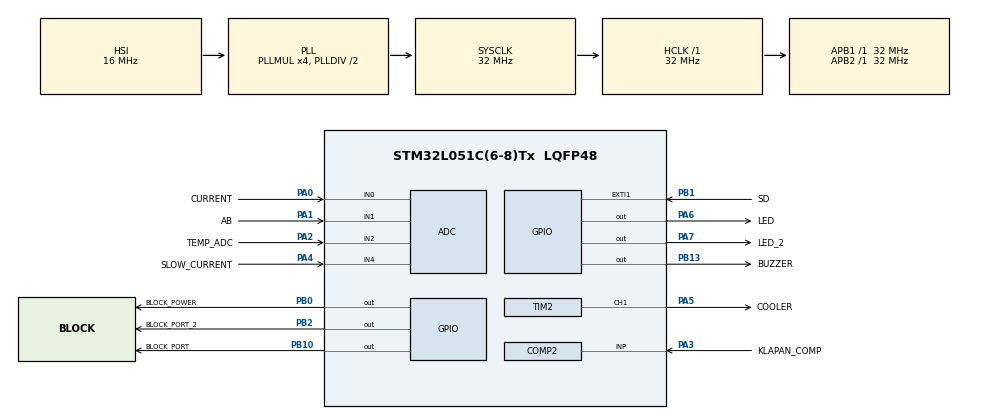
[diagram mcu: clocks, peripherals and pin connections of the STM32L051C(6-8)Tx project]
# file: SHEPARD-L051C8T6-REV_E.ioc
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ADC.ContinuousConvMode=ENABLE
ADC.DMAContinuousRequests=ENABLE
ADC.EOCSelection=ADC_EOC_SEQ_CONV
ADC.SamplingTime=ADC_SAMPLETIME_160CYCLES_5
COMP2.InvertingInput=COMP_INPUT_MINUS_VREFINT
COMP2.TriggerMode=COMP_TRIGGERMODE_IT_RISING_FALLING
Dma.ADC.0.Direction=DMA_PERIPH_TO_MEMORY
Dma.ADC.0.Instance=DMA1_Channel1
Dma.ADC.0.MemDataAlignment=DMA_MDATAALIGN_HALFWORD
Dma.ADC.0.MemInc=DMA_MINC_ENABLE
Dma.ADC.0.Mode=DMA_CIRCULAR
Dma.ADC.0.PeriphDataAlignment=DMA_PDATAALIGN_HALFWORD
Dma.ADC.0.PeriphInc=DMA_PINC_DISABLE
Dma.ADC.0.Priority=DMA_PRIORITY_HIGH
Dma.Request0=ADC
FREERTOS.Tasks01=Loop_Task,0,128,StartLoop_Task,Default,NULL,Dynamic,NULL,NULL;LED_Task,0,128,StartLED_Task,Default,NULL,Dynamic,NULL,NULL;Buzzer_Task,0,128,StartBuzzer_Task,Default,NULL,Dynamic,NULL,NULL;Cooler_Task,0,128,StartCooler_Task,Default,NULL,Dynamic,NULL,NULL;AB_Task,0,128,StartAB_Task,Default,NULL,Dynamic,NULL,NULL;TEMP_Task,0,128,StartTEMP_Task,Default,NULL,Dynamic,NULL,NULL;CUR_Task,0,128,StartCUR_Task,Default,NULL,Dynamic,NULL,NULL
FREERTOS.configTOTAL_HEAP_SIZE=4500
FREERTOS.configUSE_NEWLIB_REENTRANT=1
IWDG.Prescaler=IWDG_PRESCALER_256
Mcu.Family=STM32L0
Mcu.Name=STM32L051C(6-8)Tx
Mcu.Package=LQFP48
NVIC.ADC1_COMP_IRQn=true\:3\:0\:false\:false\:true\:true\:true\:true
NVIC.DMA1_Channel1_IRQn=true\:1\:0\:true\:false\:true\:false\:false\:true
NVIC.EXTI0_1_IRQn=true\:3\:0\:false\:false\:true\:true\:true\:true
NVIC.PVD_IRQn=true\:3\:0\:true\:false\:true\:true\:true\:true
PA0.GPIO_Label=CURRENT
PA0.Mode=IN0
PA0.Signal=ADC_IN0
PA1.GPIO_Label=AB
PA1.Mode=IN1
PA1.Signal=ADC_IN1
PA13.GPIO_Label=DIO
PA13.Mode=Serial_Wire
PA13.Signal=SYS_SWDIO
PA14.GPIO_Label=CLK
PA14.Mode=Serial_Wire
PA14.Signal=SYS_SWCLK
PA2.GPIO_Label=TEMP_ADC
PA2.Mode=IN2
PA2.Signal=ADC_IN2
PA3.GPIO_Label=KLAPAN_COMP
PA3.Mode=INP
PA3.Signal=COMP2_INP
PA4.GPIO_Label=SLOW_CURRENT
PA4.Mode=IN4
PA4.Signal=ADC_IN4
PA5.GPIO_Label=COOLER
PA5.GPIO_Speed=GPIO_SPEED_FREQ_VERY_HIGH
PA5.Signal=S_TIM2_CH1
PA6.GPIO_Label=LED
PA6.GPIO_Speed=GPIO_SPEED_FREQ_VERY_HIGH
PA6.PinState=GPIO_PIN_SET
PA6.Signal=GPIO_Output
PA7.GPIO_Label=LED_2
PA7.GPIO_Speed=GPIO_SPEED_FREQ_VERY_HIGH
PA7.PinState=GPIO_PIN_SET
PA7.Signal=GPIO_Output
PB0.GPIO_Label=BLOCK_POWER
PB0.GPIO_Speed=GPIO_SPEED_FREQ_VERY_HIGH
PB0.PinState=GPIO_PIN_RESET
PB0.Signal=GPIO_Output
PB1.GPIO_Label=SD
PB1.Signal=GPXTI1
PB10.GPIO_Label=BLOCK_PORT
PB10.GPIO_Speed=GPIO_SPEED_FREQ_VERY_HIGH
PB10.PinState=GPIO_PIN_SET
PB10.Signal=GPIO_Output
PB13.GPIO_Label=BUZZER
PB13.GPIO_Speed=GPIO_SPEED_FREQ_VERY_HIGH
PB13.Signal=GPIO_Output
PB2.GPIO_Label=BLOCK_PORT_2
PB2.GPIO_Speed=GPIO_SPEED_FREQ_VERY_HIGH
PB2.PinState=GPIO_PIN_SET
PB2.Signal=GPIO_Output
ProjectManager.HeapSize=0x200
ProjectManager.StackSize=0x400
ProjectManager.TargetToolchain=STM32CubeIDE
RCC.AHBFreq_Value=32000000
RCC.APB1Freq_Value=32000000
RCC.APB1TimFreq_Value=32000000
RCC.APB2Freq_Value=32000000
RCC.APB2TimFreq_Value=32000000
RCC.HCLKFreq_Value=32000000
RCC.HSE_VALUE=8000000
RCC.HSI16_VALUE=16000000
RCC.HSI_VALUE=16000000
RCC.LSE_VALUE=32768
RCC.MSI_VALUE=2097000
RCC.PLLMUL=RCC_PLLMUL_4
RCC.SYSCLKFreq_VALUE=32000000
RCC.SYSCLKSource=RCC_SYSCLKSOURCE_PLLCLK
RCC.VCOOutputFreq_Value=64000000
SH.S_TIM2_CH1.0=TIM2_CH1,PWM Generation1 CH1
SYS.Mode=PWR_PVD_MODE_IT_RISING_FALLING
SYS.PVDLevel=PWR_PVDLEVEL_2
TIM2.AutoReloadPreload=TIM_AUTORELOAD_PRELOAD_ENABLE
TIM2.Channel-PWM\ Generation1\ CH1=TIM_CHANNEL_1
TIM2.OCFastMode_PWM-PWM\ Generation1\ CH1=TIM_OCFAST_ENABLE
TIM2.OCPolarity_1=TIM_OCPOLARITY_LOW
TIM2.Period=31999
VP_COMP2_VS_VREFINT.Mode=VREFINT
VP_FREERTOS_VS_CMSIS_V1.Mode=CMSIS_V1
VP_IWDG_VS_IWDG.Mode=IWDG_Activate
VP_SYS_V_PVD_IN.Mode=Mode_PVD_Int
VP_TIM21_VS_ClockSourceINT.Mode=Internal
VP_TIM22_VS_ClockSourceINT.Mode=Internal
VP_TIM2_VS_ClockSourceINT.Mode=Internal
board=custom

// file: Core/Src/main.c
/* USER CODE BEGIN Header */
/**
  ******************************************************************************
  * @file           : main.c
  * @brief          : Main program body
  ******************************************************************************
  * @attention
  *
  * <h2><center>&copy; Copyright (c) 2020 STMicroelectronics.
  * All rights reserved.</center></h2>
  *
  * This software component is licensed by ST under BSD 3-Clause license,
  * the "License"; You may not use this file except in compliance with the
  * License. You may obtain a copy of the License at:
  *                        opensource.org/licenses/BSD-3-Clause
  *
  ******************************************************************************
  */
/* USER CODE END Header */

#include "main.h"
#include "cmsis_os.h"
#include "adc.h"
#include "comp.h"
#include "dma.h"
#include "iwdg.h"
#include "tim.h"
#include "gpio.h"

/* USER CODE BEGIN Includes */
#include "math.h"
/* USER CODE END Includes */

/* USER CODE BEGIN PD */
#define DEBUG_IWDG
/* USER CODE END PD */

/* USER CODE BEGIN PV */
volatile uint8_t INV_STATE=0; // 0-off

volatile uint8_t Blocked_by_AB=1;
volatile uint8_t Blocked_by_Perek=0;
volatile uint8_t Blocked_by_TEMP=1;
volatile uint8_t Blocked_by_PVD=1;

volatile uint8_t Blocked_by_Klapan=0;
volatile uint8_t Blocked_by_Klapan_CNT=0;
volatile uint8_t Blocked_by_150=0;

volatile uint8_t KLAPAN_SIGN=0;

volatile uint16_t aADCxConvertedData[ADC_CONVERTED_DATA_BUFFER_SIZE];
volatile uint16_t Global_AB=0;
volatile uint16_t Global_TEMP=0;
volatile uint16_t Global_SLOWCURR=0;
volatile uint16_t Global_CURR=0;

// ADC Stamp
volatile uint32_t adc_base_stamp=0;
volatile uint32_t adc_avg_stamp=0;

// AB AVERAGE ADC
volatile uint32_t Global_AB_BASE=0;
volatile uint32_t Global_AB_BASE_CNT=0;
volatile uint64_t Global_AB_BASE_SUMMATOR=0;

volatile uint32_t Global_TEMP_AVG=0;
volatile uint32_t Global_TEMP_AVG_CNT=0;
volatile uint64_t Global_TEMP_AVG_SUMMATOR=0;

volatile uint32_t Global_SLOWCUR_AVG=0;
volatile uint32_t Global_SLOWCUR_AVG_CNT=0;
volatile uint64_t Global_SLOWCUR_AVG_SUMMATOR=0;

volatile uint32_t Global_CUR_AVG=0;
volatile uint32_t Global_CUR_AVG_CNT=0;
volatile uint64_t Global_CUR_AVG_SUMMATOR=0;

volatile uint32_t Global_CUR_BASE=0;
volatile uint32_t Global_CUR_BASE_CNT=0;
volatile uint64_t Global_CUR_BASE_SUMMATOR=0;

volatile uint8_t Ready_AVG_CUR=0;
volatile uint8_t Ready_AVG_BASE=0;
volatile uint8_t Ready_AVG_TEMP=0;

volatile uint16_t Power_Percent=0;
volatile uint16_t Power_Percent_Base=0;

volatile float TEMP_C=TEMP_MAX;
/* USER CODE END PV */

void SystemClock_Config(void);
void MX_FREERTOS_Init(void);
void Enable_SH_DEBUG(void);

/* USER CODE BEGIN 0 */
void Calc_Temp(void) {
	if (Ready_AVG_TEMP==1) {
		Ready_AVG_TEMP=0;

	    // convert the value to resistance
		double average=Global_TEMP_AVG;
	    average = 4095/average-1;
	    average = SERIESRESISTOR * average;

	    TEMP_C = average / THERMISTORNOMINAL;     // (R/Ro)
	    TEMP_C = log(TEMP_C);                  // ln(R/Ro)
	    TEMP_C /= BCOEFFICIENT;                   // 1/B * ln(R/Ro)
	    TEMP_C += 1.0 / (TEMPERATURENOMINAL + 273.15); // + (1/To)
	    TEMP_C = 1.0 / TEMP_C;                 // Invert
	    TEMP_C -= 273.15;                         // convert to C
	    TEMP_C=TEMP_C+TEMP_BASE;
	}
}

void HAL_GPIO_EXTI_Callback(uint16_t GPIO_Pin)
{
	 // if(GPIO_Pin== SD_Pin) {
		  __HAL_GPIO_EXTI_CLEAR_IT(SD_Pin);
		  //
		if ((HAL_GPIO_ReadPin(SD_GPIO_Port,SD_Pin)==GPIO_PIN_RESET)) {
			Blocked_by_Perek=1;
		} else {
			Blocked_by_Perek=0;
		}
	 // }
}

void HAL_PWR_PVDCallback(void)
{
	if __HAL_PWR_GET_FLAG(PWR_FLAG_PVDO) {
		Blocked_by_PVD=1;
	} else {
		Blocked_by_PVD=0;
	}
}

void HAL_ADC_ConvCpltCallback(ADC_HandleTypeDef* hadc1)
{
	Global_CURR=aADCxConvertedData[0];
	Global_AB=aADCxConvertedData[1];
	Global_TEMP=aADCxConvertedData[2];
	Global_SLOWCURR=aADCxConvertedData[3];

	if (Global_CURR>=ADC_KLAPAN_1_8_x) {
		Blocked_by_150=1;
	}

	Global_CUR_BASE_SUMMATOR=Global_CURR+Global_CUR_BASE_SUMMATOR;
	Global_CUR_BASE_CNT++;
	Global_CUR_AVG_SUMMATOR=Global_CUR_AVG_SUMMATOR+Global_CURR;
	Global_CUR_AVG_CNT++;

	Global_AB_BASE_CNT++;
	Global_AB_BASE_SUMMATOR=Global_AB+Global_AB_BASE_SUMMATOR;

	Global_TEMP_AVG_CNT++;
	Global_TEMP_AVG_SUMMATOR=Global_TEMP_AVG_SUMMATOR+Global_TEMP;

	Global_SLOWCUR_AVG_CNT++;
	Global_SLOWCUR_AVG_SUMMATOR=Global_SLOWCUR_AVG_SUMMATOR+Global_SLOWCURR;

	if (xTaskGetTickCount()-adc_base_stamp>=ADC_LENGTH_SAMPLING_BASE) {
		if (Global_AB_BASE_CNT==0) {
			Global_AB_BASE_CNT=1;
		}

		if (Global_CUR_BASE_CNT==0) {
			Global_CUR_BASE_CNT=1;
		}

		Global_CUR_BASE=(uint32_t) (Global_CUR_BASE_SUMMATOR/Global_CUR_BASE_CNT);
		Global_CUR_BASE_CNT=0;
		Global_CUR_BASE_SUMMATOR=0;

		Global_AB_BASE=(uint32_t) (Global_AB_BASE_SUMMATOR/Global_AB_BASE_CNT);
		Global_AB_BASE_CNT=0;
		Global_AB_BASE_SUMMATOR=0;

		if (Global_SLOWCUR_AVG!=0) {
			Power_Percent_Base=(100*Global_CUR_BASE)/Global_SLOWCUR_AVG;
		} else {
			Power_Percent_Base=1;
		}

		Ready_AVG_BASE=1;

		adc_base_stamp=xTaskGetTickCount();
	}

	if (xTaskGetTickCount()-adc_avg_stamp>=ADC_LENGTH_SAMPLING_AVG) {
			if (Global_TEMP_AVG_CNT==0) {
				Global_TEMP_AVG_CNT=1;
			}

			if (Global_CUR_AVG_CNT==0) {
				Global_CUR_AVG_CNT=1;
			}

			if (Global_SLOWCUR_AVG_CNT==0) {
				Global_SLOWCUR_AVG_CNT=1;
			}

			Global_CUR_AVG=(uint32_t) (Global_CUR_AVG_SUMMATOR/Global_CUR_AVG_CNT);
			Global_CUR_AVG_CNT=0;
			Global_CUR_AVG_SUMMATOR=0;

			Global_TEMP_AVG=(uint32_t) (Global_TEMP_AVG_SUMMATOR/Global_TEMP_AVG_CNT);
			Global_TEMP_AVG_CNT=0;
			Global_TEMP_AVG_SUMMATOR=0;

			Global_SLOWCUR_AVG=(uint32_t) (Global_SLOWCUR_AVG_SUMMATOR/Global_SLOWCUR_AVG_CNT);
			Global_SLOWCUR_AVG_CNT=0;
			Global_SLOWCUR_AVG_SUMMATOR=0;

			adc_avg_stamp=xTaskGetTickCount();

			Ready_AVG_CUR=1;
			Ready_AVG_TEMP=1;

			if (Global_CUR_AVG!=0) {
				Power_Percent=(100*Global_CUR_AVG)/Global_SLOWCUR_AVG;
			} else {
				Power_Percent=1;
			}
		}
}

/*void HAL_ADC_ConvHalfCpltCallback(ADC_HandleTypeDef* hadc1)
{
	Global_CURR=aADCxConvertedData[0];
	Global_AB=aADCxConvertedData[1];
}*/

uint8_t CheckStamp(uint32_t time_stamp, uint32_t time_base) {
	if (xTaskGetTickCount()-time_stamp>time_base*1000) {
		return 1;
	} else {
		return 0;
	}
}

void LED_Blink(GPIO_TypeDef* sh_port, uint16_t sh_pin,uint16_t sh_delay) {
	HAL_GPIO_WritePin(sh_port, sh_pin, GPIO_PIN_SET); // STAT
	osDelay(sh_delay);
	HAL_GPIO_WritePin(sh_port, sh_pin, GPIO_PIN_RESET); // STAT
}

void LED_Blink_X(GPIO_TypeDef* sh_port, uint16_t sh_pin,uint8_t sh_cnt,uint16_t sh_delay) {
	for (uint16_t i=0;i<sh_cnt;i++) {
		LED_Blink(sh_port,sh_pin,sh_delay);
		osDelay(100);
	}
}

void __attribute__((optimize("O0"))) ShutDown_with_Power_On(void) {
	/*HAL_GPIO_WritePin(GPIOA, BLOCK_PORT_1_Pin, GPIO_PIN_RESET); // SET BLOCK 8V FLAG and block all PWMs
	HAL_GPIO_WritePin(GPIOA, BLOCK_PORT_2_Pin, GPIO_PIN_SET);
	HAL_GPIO_WritePin(BLOCK_POWER_GPIO_Port, BLOCK_POWER_Pin, GPIO_PIN_SET);   // POWER ON
	*/

	GPIOB->BRR  = GPIO_BRR_BR_10;
	GPIOB->BSRR  = GPIO_BSRR_BS_2;
	GPIOB->BSRR  = GPIO_BSRR_BS_0;
}

void __attribute__((optimize("O0"))) Enable_INV(void) {

	GPIOB->BRR  = GPIO_BRR_BR_10;
	GPIOB->BSRR  = GPIO_BSRR_BS_2;
	GPIOB->BSRR  = GPIO_BSRR_BS_0;
	GPIOB->BSRR  = GPIO_BSRR_BS_10;
	GPIOB->BRR  = GPIO_BRR_BR_2;

	/*HAL_GPIO_WritePin(GPIOA, BLOCK_PORT_1_Pin, GPIO_PIN_RESET); // SET BLOCK 8V FLAG and block all PWMs
	HAL_GPIO_WritePin(GPIOA, BLOCK_PORT_2_Pin, GPIO_PIN_SET);
	HAL_GPIO_WritePin(BLOCK_POWER_GPIO_Port, BLOCK_POWER_Pin, GPIO_PIN_SET); // POWER ON
	HAL_GPIO_WritePin(GPIOA, BLOCK_PORT_1_Pin, GPIO_PIN_SET); //  UNBLOCK 8V FLAG and UNBLOCK all PWMs
	HAL_GPIO_WritePin(GPIOA, BLOCK_PORT_2_Pin, GPIO_PIN_RESET);*/
}

void __attribute__((optimize("O0"))) ShutDown_with_Power_Off(void) {
	GPIOB->BRR  = GPIO_BRR_BR_10; // Set 8V Block
	GPIOB->BSRR  = GPIO_BSRR_BS_2; // Block PWM
	GPIOB->BRR  = GPIO_BRR_BR_0; // BLOCK POWER

	/*HAL_GPIO_WritePin(GPIOA, BLOCK_PORT_1_Pin, GPIO_PIN_RESET); // SET BLOCK 8V FLAG and block all PWMs
	HAL_GPIO_WritePin(GPIOA, BLOCK_PORT_2_Pin, GPIO_PIN_SET);
	HAL_GPIO_WritePin(BLOCK_POWER_GPIO_Port, BLOCK_POWER_Pin, GPIO_PIN_RESET);   // POWER OFF
	*/
}

void IWDG_Reset(void) {
	HAL_IWDG_Refresh(&hiwdg);
}

void Enable_SH_DEBUG(void) {
			__HAL_RCC_DBGMCU_CLK_ENABLE();
		    DBGMCU->APB1FZ |= DBGMCU_APB1_FZ_DBG_WWDG_STOP;
		    DBGMCU->APB2FZ = 0xFFFFFFFF;
		    DBGMCU->APB1FZ = 0xFFFFFFFF;
		    DBGMCU->CR |=DBGMCU_CR_DBG_STOP;
		    __HAL_DBGMCU_FREEZE_IWDG();
}
/* USER CODE END 0 */

int main(void)
{
	  /* USER CODE BEGIN 1 */

		// Enable_SH_DEBUG
		#ifdef DEBUG_IWDG
			Enable_SH_DEBUG();
		#endif
	  /* USER CODE END 1 */

  /* MCU Configuration--------------------------------------------------------*/

  /* Reset of all peripherals, Initializes the Flash interface and the Systick. */
  HAL_Init();

  /* Configure the system clock */
  SystemClock_Config();

  /* Initialize all configured peripherals */
  MX_GPIO_Init();
  MX_DMA_Init();
  MX_ADC_Init();
  MX_COMP2_Init();
  MX_IWDG_Init();
  MX_TIM2_Init();
  MX_TIM21_Init();
  MX_TIM22_Init();
  /* USER CODE BEGIN 2 */
  IWDG_Reset();
  /* USER CODE END 2 */

  /* Call init function for freertos objects (in freertos.c) */
  MX_FREERTOS_Init();
  /* Start scheduler */
  osKernelStart();

  /* We should never get here as control is now taken by the scheduler */
  /* Infinite loop */
  while (1)
  {

  }
}

void SystemClock_Config(void)
{
  RCC_OscInitTypeDef RCC_OscInitStruct = {0};
  RCC_ClkInitTypeDef RCC_ClkInitStruct = {0};

  /** Configure the main internal regulator output voltage
  */
  __HAL_PWR_VOLTAGESCALING_CONFIG(PWR_REGULATOR_VOLTAGE_SCALE1);
  /** Initializes the CPU, AHB and APB busses clocks
  */
  RCC_OscInitStruct.OscillatorType = RCC_OSCILLATORTYPE_HSI|RCC_OSCILLATORTYPE_LSI;
  RCC_OscInitStruct.HSIState = RCC_HSI_ON;
  RCC_OscInitStruct.HSICalibrationValue = RCC_HSICALIBRATION_DEFAULT;
  RCC_OscInitStruct.LSIState = RCC_LSI_ON;
  RCC_OscInitStruct.PLL.PLLState = RCC_PLL_ON;
  RCC_OscInitStruct.PLL.PLLSource = RCC_PLLSOURCE_HSI;
  RCC_OscInitStruct.PLL.PLLMUL = RCC_PLLMUL_4;
  RCC_OscInitStruct.PLL.PLLDIV = RCC_PLLDIV_2;
  if (HAL_RCC_OscConfig(&RCC_OscInitStruct) != HAL_OK)
  {
    Error_Handler();
  }
  /** Initializes the CPU, AHB and APB busses clocks
  */
  RCC_ClkInitStruct.ClockType = RCC_CLOCKTYPE_HCLK|RCC_CLOCKTYPE_SYSCLK
                              |RCC_CLOCKTYPE_PCLK1|RCC_CLOCKTYPE_PCLK2;
  RCC_ClkInitStruct.SYSCLKSource = RCC_SYSCLKSOURCE_PLLCLK;
  RCC_ClkInitStruct.AHBCLKDivider = RCC_SYSCLK_DIV1;
  RCC_ClkInitStruct.APB1CLKDivider = RCC_HCLK_DIV1;
  RCC_ClkInitStruct.APB2CLKDivider = RCC_HCLK_DIV1;

  if (HAL_RCC_ClockConfig(&RCC_ClkInitStruct, FLASH_LATENCY_1) != HAL_OK)
  {
    Error_Handler();
  }
}

void Error_Handler(void)
{
}

/************************ (C) COPYRIGHT STMicroelectronics *****END OF FILE****/

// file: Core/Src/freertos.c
/* USER CODE BEGIN Header */
/**
  ******************************************************************************
  * File Name          : freertos.c
  * Description        : Code for freertos applications
  ******************************************************************************
  * @attention
  *
  * <h2><center>&copy; Copyright (c) 2020 STMicroelectronics.
  * All rights reserved. </center></h2>
  *
  * This software component is licensed by ST under Ultimate Liberty license
  * SLA0044, the "License"; You may not use this file except in compliance with
  * the License. You may obtain a copy of the License at:
  *                             www.st.com/SLA0044
  *
  ******************************************************************************
  */
/* USER CODE END Header */

#include "FreeRTOS.h"
#include "task.h"
#include "main.h"
#include "cmsis_os.h"

/* USER CODE BEGIN Includes */
#include "adc.h"
#include "comp.h"
#include "tim.h"
#include "math.h"
/* USER CODE END Includes */

osThreadId Loop_TaskHandle;
osThreadId LED_TaskHandle;
osThreadId Buzzer_TaskHandle;
osThreadId Cooler_TaskHandle;
osThreadId AB_TaskHandle;
osThreadId TEMP_TaskHandle;
osThreadId CUR_TaskHandle;

void StartLoop_Task(void const * argument);
void StartLED_Task(void const * argument);
void StartBuzzer_Task(void const * argument);
void StartCooler_Task(void const * argument);
void StartAB_Task(void const * argument);
void StartTEMP_Task(void const * argument);
void StartCUR_Task(void const * argument);

void MX_FREERTOS_Init(void); /* (MISRA C 2004 rule 8.1) */

/* GetIdleTaskMemory prototype (linked to static allocation support) */
void vApplicationGetIdleTaskMemory( StaticTask_t **ppxIdleTaskTCBBuffer, StackType_t **ppxIdleTaskStackBuffer, uint32_t *pulIdleTaskStackSize );

/* USER CODE BEGIN GET_IDLE_TASK_MEMORY */
static StaticTask_t xIdleTaskTCBBuffer;
static StackType_t xIdleStack[configMINIMAL_STACK_SIZE];

void vApplicationGetIdleTaskMemory( StaticTask_t **ppxIdleTaskTCBBuffer, StackType_t **ppxIdleTaskStackBuffer, uint32_t *pulIdleTaskStackSize )
{
  *ppxIdleTaskTCBBuffer = &xIdleTaskTCBBuffer;
  *ppxIdleTaskStackBuffer = &xIdleStack[0];
  *pulIdleTaskStackSize = configMINIMAL_STACK_SIZE;
  /* place for user code */
}
/* USER CODE END GET_IDLE_TASK_MEMORY */

void MX_FREERTOS_Init(void) {

  /* Create the thread(s) */
  /* definition and creation of Loop_Task */
  osThreadDef(Loop_Task, StartLoop_Task, osPriorityNormal, 0, 128);
  Loop_TaskHandle = osThreadCreate(osThread(Loop_Task), NULL);

  /* definition and creation of LED_Task */
  osThreadDef(LED_Task, StartLED_Task, osPriorityNormal, 0, 128);
  LED_TaskHandle = osThreadCreate(osThread(LED_Task), NULL);

  /* definition and creation of Buzzer_Task */
  osThreadDef(Buzzer_Task, StartBuzzer_Task, osPriorityNormal, 0, 128);
  Buzzer_TaskHandle = osThreadCreate(osThread(Buzzer_Task), NULL);

  /* definition and creation of Cooler_Task */
  osThreadDef(Cooler_Task, StartCooler_Task, osPriorityNormal, 0, 128);
  Cooler_TaskHandle = osThreadCreate(osThread(Cooler_Task), NULL);

  /* definition and creation of AB_Task */
  osThreadDef(AB_Task, StartAB_Task, osPriorityNormal, 0, 128);
  AB_TaskHandle = osThreadCreate(osThread(AB_Task), NULL);

  /* definition and creation of TEMP_Task */
  osThreadDef(TEMP_Task, StartTEMP_Task, osPriorityNormal, 0, 128);
  TEMP_TaskHandle = osThreadCreate(osThread(TEMP_Task), NULL);

  /* definition and creation of CUR_Task */
  osThreadDef(CUR_Task, StartCUR_Task, osPriorityNormal, 0, 128);
  CUR_TaskHandle = osThreadCreate(osThread(CUR_Task), NULL);

}

void StartLoop_Task(void const * argument)
{

	 // uint32_t restart_stamp=0;
	  uint8_t restart_flag=0;
	  uint32_t restart_flag_stamp=0;

	  INV_STATE=0;
	  ShutDown_with_Power_Off();

	  /* ###  - Start conversion in DMA mode ################################# */
	  HAL_ADC_Start_DMA(&hadc,(uint32_t *)aADCxConvertedData,ADC_CONVERTED_DATA_BUFFER_SIZE);

	  // Check Perek
	  HAL_GPIO_EXTI_Callback(SD_Pin);

	  //check PVD
	  HAL_PWR_PVDCallback();

	  /* ###  - Start COMP ################################# */
	  HAL_COMP_Start(&hcomp2);

	  osDelay(500);

	  // Check Perek
	  HAL_GPIO_EXTI_Callback(SD_Pin);

	  osDelay(500);

	  HAL_GPIO_EXTI_Callback(SD_Pin);

	  //osDelay(500);

	  for(;;)
	  {
		if ((Blocked_by_AB==0) && (Blocked_by_Perek==0) && (Blocked_by_PVD==0) && (Blocked_by_TEMP==0)
				&& (Blocked_by_Klapan==0) && (Blocked_by_150==0) ) {
			if (INV_STATE!=1) {
				INV_STATE=1;
				Enable_INV();
			}
			//Enable_INV();
			KLAPAN_SIGN=0;
			//restart_stamp=0;

			//
			restart_flag=0;
			restart_flag_stamp=0;
		} else {
			if (INV_STATE!=0) {
				INV_STATE=0;
				//restart_stamp=0;
				restart_flag=0;
				restart_flag_stamp=0;
				ShutDown_with_Power_On();
						if ((Blocked_by_Klapan==1) && (Blocked_by_150==1)) {
							//HAL_GPIO_WritePin(BLOCK_POWER_GPIO_Port, BLOCK_POWER_Pin, GPIO_PIN_SET);
							GPIOB->BSRR  = GPIO_BSRR_BS_0; //// UNBLOCK POWER
						}
			}
			if ( (Blocked_by_Klapan==1) && (KLAPAN_SIGN==0)) {
				KLAPAN_SIGN=1;
			    LED_Blink_X(BUZZER_GPIO_Port,BUZZER_Pin,10,300);
			}
			if ( (Blocked_by_150==1) && (KLAPAN_SIGN==0)) {
				KLAPAN_SIGN=1;
				LED_Blink_X(BUZZER_GPIO_Port,BUZZER_Pin,10,1);
			}

			// new code
			restart_flag=1;
			if ((Blocked_by_AB==0) && (Blocked_by_PVD==0) && (Blocked_by_TEMP==0)
								&& (Blocked_by_Perek==1) ) {

				if (restart_flag==0) {

					if (CheckStamp(restart_flag_stamp,RESTART_MAX_LENGTH)==1) {
						// RESTART CODE BEGIN

							//SHUTDOWN PWM
							GPIOB->BSRR  = GPIO_BSRR_BS_10;
							for (uint16_t i=0; i<500; ++i) {
								// 1 microsec
								for (int j = 0; j < 32; ++j) {
									__asm__ __volatile__("nop\n\t":::"memory");
								}
							}

							//SHUTDOWN AND UP INV
							GPIOB->BRR  = GPIO_BRR_BR_0;

							Blocked_by_Klapan=0;
							Blocked_by_150=0;
							Blocked_by_Klapan_CNT=0;

							for (uint32_t i=0; i<500; ++i) {
								// 1 microsec
								for (int j = 0; j < 32; ++j) {
									__asm__ __volatile__("nop\n\t":::"memory");
								}
							}
							GPIOB->BSRR  = GPIO_BSRR_BS_0;

						// RESTART CODE END

						restart_flag=1;
						restart_flag_stamp=0;
					}
				}
				else {
					if (restart_flag_stamp==0) {
											restart_flag_stamp=xTaskGetTickCount();
										}
					if (CheckStamp(restart_flag_stamp,RESTART_MAX_LENGTH_LONG)==1) {
						restart_flag=0;
						restart_flag_stamp=0;
					}
				}

			} else {
				restart_flag=0;
				restart_flag_stamp=0;
			}
		}
		restart_flag=1;

		taskYIELD();
	  }
}

void StartLED_Task(void const * argument)
{
	  for(;;)
	  {
		// RESET IWDG
		IWDG_Reset();

		//turn off LED
		GPIOA->BRR  = GPIO_BRR_BR_7;

		/*if ((Blocked_by_PVD==1) || (Blocked_by_TEMP==1)) {
					LED_Blink(LED_GPIO_Port,LED_Pin,10);
					osDelay(100);
		} else {*/
							if (Global_AB_BASE<BUZZER_OPORA) {
								HAL_GPIO_WritePin(LED_GPIO_Port, LED_Pin, GPIO_PIN_SET); // AB ON
							} else {
								HAL_GPIO_WritePin(LED_GPIO_Port, LED_Pin, GPIO_PIN_RESET); // AB ON
							}
							osDelay(500);
		//}
	  }
}

void StartBuzzer_Task(void const * argument)
{
      uint32_t buzzer_stamp=xTaskGetTickCount();

	  while ((Global_AB_BASE<AB_COLDRUN) && (Blocked_by_Perek==0))  {
		  if (xTaskGetTickCount()-buzzer_stamp<=BUZZER_MAX_LENGTH*1000) {
			  LED_Blink(BUZZER_GPIO_Port,BUZZER_Pin,1);
		  }
		  osDelay(3000);
	  }

	  LED_Blink(BUZZER_GPIO_Port,BUZZER_Pin,100);

	  buzzer_stamp=0;

	  for(;;)
	  {
		  		  //turn off buzzer
		  		  GPIOB->BRR  = GPIO_BRR_BR_13;

				if (  ((Blocked_by_Perek==0) && ((Global_AB_BASE>=AB_LOW) && ((Global_AB_BASE<=BUZZER_OPORA_MAX) || (Global_AB_BASE>=AB_MAX)) ) )
						|| ((Blocked_by_Perek==1) &&  (Global_AB_BASE>=AB_MAX) )
						|| (Blocked_by_TEMP==1) ) {
					if (buzzer_stamp==0) {
						buzzer_stamp=xTaskGetTickCount();
					}
					if (CheckStamp(buzzer_stamp,BUZZER_MAX_LENGTH)==0) {
						LED_Blink_X(BUZZER_GPIO_Port,BUZZER_Pin,3,300);
					}
					osDelay(2500);
				}
				if ((buzzer_stamp!=0) && (Global_AB_BASE>=AB_COLDRUN) &&  (Global_AB_BASE<AB_COLDRUN_FROM_MAX)) {
					LED_Blink_X(BUZZER_GPIO_Port,BUZZER_Pin,6,100);
					buzzer_stamp=0;
				}

				osDelay(1);

	  }
}

void StartCooler_Task(void const * argument)
{
	  uint32_t cooler_stamp=0;

	  HAL_TIM_PWM_Start(&htim2, TIM_CHANNEL_1) ;
	  __HAL_TIM_SET_COMPARE(&htim2, TIM_CHANNEL_1, PULSE40_VALUE);
	  osDelay(3000);
	  __HAL_TIM_SET_COMPARE(&htim2, TIM_CHANNEL_1, 0);

	  for(;;)
	  {
		if (Blocked_by_TEMP==1) {
			__HAL_TIM_SET_COMPARE(&htim2, TIM_CHANNEL_1, PULSE100_VALUE);
			cooler_stamp=0;
			osDelay(10000);
		} else {
			if (Blocked_by_Perek==1) {
				if ((TEMP_C>TEMP_ROLLBACK) && (TEMP_C<TEMP_COLRSTART)) {
					__HAL_TIM_SET_COMPARE(&htim2, TIM_CHANNEL_1, PULSE20_VALUE);
					cooler_stamp=0;
				}
				if (TEMP_C>=TEMP_COLRSTART) {
					__HAL_TIM_SET_COMPARE(&htim2, TIM_CHANNEL_1, PULSE40_VALUE);
					cooler_stamp=0;
				}
				if ((TEMP_C<=TEMP_ROLLBACK) && (__HAL_TIM_GET_COMPARE(&htim2, TIM_CHANNEL_1)!=0)) {
					if (cooler_stamp==0) {
						cooler_stamp=xTaskGetTickCount();
					}
					if (CheckStamp(cooler_stamp,COOLER_MAX_LENGTH)==1)  {
						__HAL_TIM_SET_COMPARE(&htim2, TIM_CHANNEL_1, 0);
						cooler_stamp=0;
						LED_Blink_X(BUZZER_GPIO_Port,BUZZER_Pin,4,100);
					}
				}
				osDelay(1000);
			} else {
				if ((Power_Percent>=40) || (TEMP_C>TEMP_COLRSTART)) {
					__HAL_TIM_SET_COMPARE(&htim2, TIM_CHANNEL_1, PULSE100_VALUE);
					cooler_stamp=0;
				} else {
					if ( ((Power_Percent>=15) && (Power_Percent<40)) || (TEMP_C>TEMP_ROLLBACK)) {
						__HAL_TIM_SET_COMPARE(&htim2, TIM_CHANNEL_1, PULSE70_VALUE);
						cooler_stamp=0;
					} else {
						__HAL_TIM_SET_COMPARE(&htim2, TIM_CHANNEL_1, PULSE40_VALUE);
						cooler_stamp=0;
					}
				}
				osDelay(3000);
			}
		}
		osDelay(1000);
	  }
}

void StartAB_Task(void const * argument)
{
	  uint32_t ab_stamp=0;
		//while ( (Global_AB_BASE<AB_COLDRUN) && (Blocked_by_Perek==0)) {
		while ( (Global_AB_BASE<AB_COLDRUN)) {
			  Blocked_by_AB=1;
			  osDelay(1);
		  }

	  Blocked_by_AB=0;

	  for(;;)
	  {
		if ( (Blocked_by_AB==0) && ((Global_AB_BASE<=AB_LOW)  || (Global_AB_BASE>=AB_MAX) ) ) {
			Blocked_by_AB=1;
			ab_stamp=0;
			LED_Blink_X(BUZZER_GPIO_Port,BUZZER_Pin,4,100);
			osDelay(3000);
		}
		if ( (Blocked_by_AB==1) && (Global_AB_BASE>=AB_ROLLBACK) &&   (Global_AB_BASE>=AB_COLDRUN_FROM_MAX) ) {
			if (ab_stamp==0) {
				ab_stamp=xTaskGetTickCount();
			}
			if ((CheckStamp(ab_stamp,AB_MAX_LENGTH)==1) || (Blocked_by_Perek==1)) {
				 Blocked_by_AB=0;
				 ab_stamp=0;
				 LED_Blink_X(BUZZER_GPIO_Port,BUZZER_Pin,4,100);
			}
		} else {
			ab_stamp=0;
		}

		osDelay(1);
	  }
}

void StartTEMP_Task(void const * argument)
{
	  uint32_t temp_stamp=0;

	  Calc_Temp();

	  while (TEMP_C>=TEMP_COLRSTART) {
		      Calc_Temp();
			  Blocked_by_TEMP=1;
			  osDelay(1000);
	  }

	  Blocked_by_TEMP=0;

	  for(;;)
	  {
		    Calc_Temp();
		    //
		    if (TEMP_C<TEMP_MAX)  {
			  if ((Blocked_by_TEMP==1) && (TEMP_C<=TEMP_ROLLBACK)) {
				  if (temp_stamp==0) {
					  temp_stamp=xTaskGetTickCount();
				  }
				  if (CheckStamp(temp_stamp,TEMP_DELAY_LENGTH)==1) {
					  Blocked_by_TEMP=0;
					  temp_stamp=0;
				 }
			  } else {
				  if (Blocked_by_TEMP!=1) {
					  Blocked_by_TEMP=0;
				  }
				  temp_stamp=0;
			  }
			  osDelay(500);
		    } else {
		  	  Blocked_by_TEMP=1;
		  	  temp_stamp=0;
		  	  osDelay(TEMP_ROLLBACK_DELAY_LENGTH*1000); //sec
		    }
	  }
}

void StartCUR_Task(void const * argument)
{
	 for(;;) {

		 //Ready_AVG_CUR=3;

		 if (Ready_AVG_CUR==1) {
			 Ready_AVG_CUR=0; //received AVG value and now perform it

	  	  	  	  // CUR LED
	  			  if ( (Blocked_by_Klapan==1) || (Blocked_by_150==1)) {
	  				  //LED_Blink(LED_2_GPIO_Port,LED_2_Pin,500);
	  				  //osDelay(500);
	  				  HAL_GPIO_TogglePin(LED_2_GPIO_Port,LED_2_Pin);
	  			  } else {
	  				 // check 120%
	  				  if (Power_Percent>=POLKA_100) {
	  					Blocked_by_150=1;
	  				  } else {
	  					  	  if( (Power_Percent<POLKA_95) && (Blocked_by_Klapan_CNT<=KLAPAN_CNT) && (Blocked_by_Klapan_CNT>0) ) {
	  							  Blocked_by_Klapan_CNT=0;
	  						  }
	  				  }

	  				  if (Power_Percent<50) {
	  					  //HAL_GPIO_WritePin(LED_2_GPIO_Port,LED_2_Pin, GPIO_PIN_RESET);
	  					  GPIOA->BRR  = GPIO_BRR_BR_7;

	  				  }
	  				  if (Power_Percent>=50) {
	  					  GPIOA->BSRR  = GPIO_BSRR_BS_7;
	  				  }
	  			  }

		 }

		 if (Ready_AVG_BASE==1) {
			 Ready_AVG_BASE=0;

			 if (Power_Percent>=POLKA_130) {
				 Blocked_by_150=1;
			 }

		 }

		 osDelay(1);
	 }

}

/************************ (C) COPYRIGHT STMicroelectronics *****END OF FILE****/
